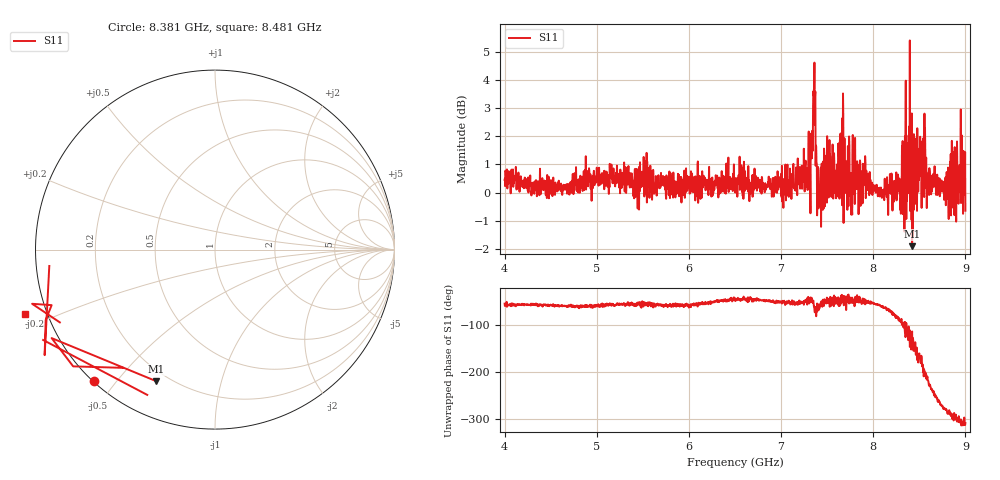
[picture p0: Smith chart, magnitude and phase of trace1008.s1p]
! Created with skrf 1.8.0 (http://scikit-rf.org).
# Hz S RI R 50.0
!freq ReS11 ImS11
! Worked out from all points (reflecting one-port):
!   1601 points, 4 GHz to 9 GHz, reference 50 ohm
!   lowest |S11| = -1.9 dB at 8.422 GHz (marker M1), VSWR 9.15, Z = 7.73 - j31.9 ohm
!   phase of S11 starts at -55 deg and turns -253 deg over the sweep
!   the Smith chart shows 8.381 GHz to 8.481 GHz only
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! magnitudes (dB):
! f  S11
! 4 GHz  0.4
! 4.625 GHz  -0.1
! 4.897 GHz  0.4
! 5.25 GHz  0.3
! 5.875 GHz  0.0
! 6.5 GHz  0.4
! 7.125 GHz  0.5
! 7.294 GHz  0.2
! 7.319 GHz  -0.7
! 7.347 GHz  3.1
! 7.375 GHz  1.0
! 7.4 GHz  0.9
! 7.428 GHz  0.8
! 7.509 GHz  0.6
! 7.591 GHz  0.5
! 7.65 GHz  2.1
! 7.703 GHz  1.1
! 7.75 GHz  0.4
! 8.316 GHz  0.1
! 8.328 GHz  0.2
! 8.375 GHz  0.3
! 8.422 GHz  -1.9
! 8.447 GHz  1.7
! 8.522 GHz  1.8
! 8.603 GHz  0.7
! 8.8 GHz  0.2
! 8.953 GHz  -0.4
! 9 GHz  -0.6
